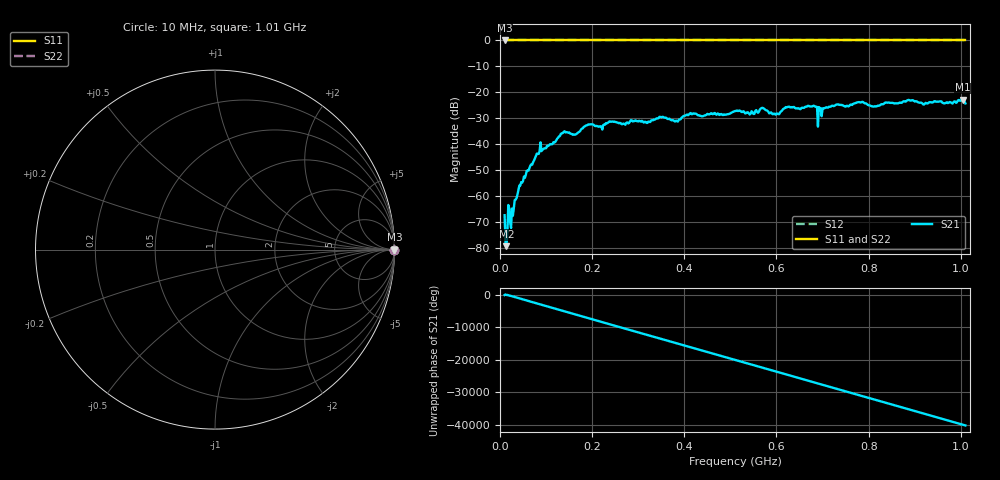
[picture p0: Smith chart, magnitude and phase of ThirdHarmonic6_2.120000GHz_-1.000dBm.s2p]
! 8/17/2025 1:20:51 AM
! C:\ANRITSUVNA\TEMP\TEMP.S2P
! CHANNEL.1
! TR.MEASUREMENT
! RAW.DATA
! RF.CORRECTION.OFF
! AVERAGING.OFF
! IF.BANDWIDTH: 5KHZ
! SWEEPTYPE:  FREQ.SWEEP(Linear)
! Reference Plane Port Info
! PORT:  PORT1  PORT2
! DISTANCE:  0  m  0  m
! TIME:  0  s  0  s
! PHASE.OFFSET:  0  deg.  0  deg.
! LOSS:  0  dB  0  dB
! REF.LOSS:  0  dB  0  dB
! REF.FREQ:  0  Hz  0  Hz
! Power Info
! POWER:  -20  dBm  -20  dBm
! EFF.POWER:  -20  dBm  -20  dBm
! SOURCE.ATTEN:  0  dB  0  dB
! TEST.ATTEN:  0  dB  0  dB
# GHZ S RI R 50.0
! FREQ.GHZ  S11RE  S11IM  S21RE  S21IM  S12RE  S12IM  S22RE  S22IM
!; PortSelection: Port_12
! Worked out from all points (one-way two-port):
!   501 points, 10 MHz to 1.01 GHz, reference 50 ohm
!   highest |S21| = -22.82 dB at 1.004 GHz (marker M1); lowest = -79.2 dB at 14 MHz (marker M2)
!   lowest |S11| = 0.0 dB at 10 MHz (marker M3)
!   |S11| at or under -10 dB: nowhere
!   |S22| runs from 0.0 to 0.0 dB; largest |S21 - S12| = 1.1
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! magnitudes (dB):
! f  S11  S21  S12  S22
! 10 MHz  0.0  -67.3  0.0  0.0
! 14 MHz  0.0  -79.2  0.0  0.0
! 22 MHz  0.0  -70.1  0.0  0.0
! 26 MHz  0.0  -64.7  0.0  0.0
! 44 MHz  0.0  -55.9  0.0  0.0
! 84 MHz  0.0  -43.7  0.0  0.0
! 136 MHz  0.0  -35.7  0.0  0.0
! 162 MHz  0.0  -36.3  0.0  0.0
! 178 MHz  0.0  -34.0  0.0  0.0
! 344 MHz  0.0  -30.0  0.0  0.0
! 382 MHz  0.0  -30.9  0.0  0.0
! 416 MHz  0.0  -28.4  0.0  0.0
! 510 MHz  0.0  -27.2  0.0  0.0
! 570 MHz  0.0  -26.0  0.0  0.0
! 602 MHz  0.0  -28.2  0.0  0.0
! 624 MHz  0.0  -25.7  0.0  0.0
! 678 MHz  0.0  -25.4  0.0  0.0
! 694 MHz  0.0  -26.0  0.0  0.0
! 732 MHz  0.0  -24.7  0.0  0.0
! 844 MHz  0.0  -23.9  0.0  0.0
! 1.004 GHz  0.0  -22.8  0.0  0.0
! 1.01 GHz  0.0  -24.3  0.0  0.0
